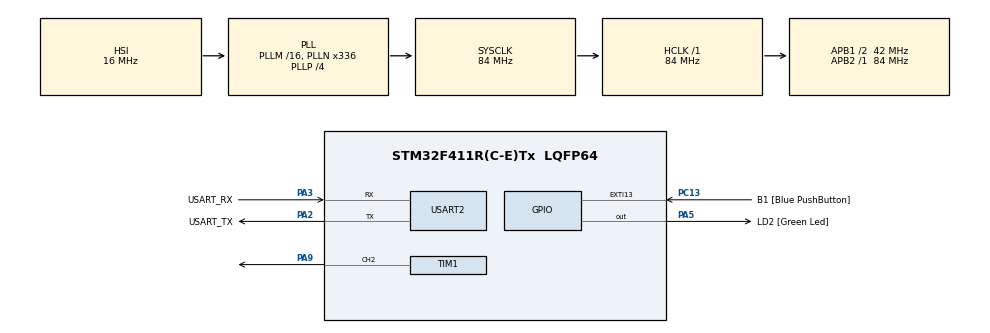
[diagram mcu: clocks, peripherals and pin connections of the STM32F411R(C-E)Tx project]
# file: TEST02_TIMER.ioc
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Mcu.Family=STM32F4
Mcu.Name=STM32F411R(C-E)Tx
Mcu.Package=LQFP64
NVIC.EXTI15_10_IRQn=true\:0\:3\:false\:false\:true\:true\:true\:true
NVIC.PriorityGroup=NVIC_PRIORITYGROUP_0
NVIC.TIM2_IRQn=true\:0\:0\:false\:false\:true\:true\:true\:true
NVIC.TIM3_IRQn=true\:0\:2\:false\:false\:true\:true\:true\:true
NVIC.TIM4_IRQn=true\:0\:0\:false\:false\:true\:true\:true\:true
PA13.GPIO_Label=TMS
PA13.Mode=Serial_Wire
PA13.Signal=SYS_JTMS-SWDIO
PA14.GPIO_Label=TCK
PA14.Mode=Serial_Wire
PA14.Signal=SYS_JTCK-SWCLK
PA2.GPIO_Label=USART_TX
PA2.Mode=Asynchronous
PA2.Signal=USART2_TX
PA3.GPIO_Label=USART_RX
PA3.Mode=Asynchronous
PA3.Signal=USART2_RX
PA5.GPIO_Label=LD2 [Green Led]
PA5.Signal=GPIO_Output
PA9.Signal=S_TIM1_CH2
PB3.GPIO_Label=SWO
PB3.Signal=SYS_JTDO-SWO
PC13-ANTI_TAMP.GPIO_Label=B1 [Blue PushButton]
PC13-ANTI_TAMP.GPIO_ModeDefaultEXTI=GPIO_MODE_IT_FALLING
PC13-ANTI_TAMP.Signal=GPXTI13
PC14-OSC32_IN.Mode=LSE-External-Oscillator
PC14-OSC32_IN.Signal=RCC_OSC32_IN
PC15-OSC32_OUT.Mode=LSE-External-Oscillator
PC15-OSC32_OUT.Signal=RCC_OSC32_OUT
PH0\ -\ OSC_IN.Mode=HSE-External-Clock-Source
PH0\ -\ OSC_IN.Signal=RCC_OSC_IN
PH1\ -\ OSC_OUT.Mode=HSE-External-Clock-Source
PH1\ -\ OSC_OUT.Signal=RCC_OSC_OUT
ProjectManager.HeapSize=0x200
ProjectManager.StackSize=0x400
ProjectManager.TargetToolchain=STM32CubeIDE
RCC.48MHZClocksFreq_Value=84000000
RCC.AHBFreq_Value=84000000
RCC.APB1CLKDivider=RCC_HCLK_DIV2
RCC.APB1Freq_Value=42000000
RCC.APB1TimFreq_Value=84000000
RCC.APB2Freq_Value=84000000
RCC.APB2TimFreq_Value=84000000
RCC.CortexFreq_Value=84000000
RCC.FLatency-AdvancedSettings=FLASH_LATENCY_2
RCC.HCLKFreq_Value=84000000
RCC.HSE_VALUE=8000000
RCC.HSI_VALUE=16000000
RCC.PLLN=336
RCC.PLLP=RCC_PLLP_DIV4
RCC.SYSCLKFreq_VALUE=84000000
RCC.SYSCLKSource=RCC_SYSCLKSOURCE_PLLCLK
RCC.VCOOutputFreq_Value=336000000
SH.S_TIM1_CH2.0=TIM1_CH2,PWM Generation2 CH2
TIM1.Channel-PWM\ Generation2\ CH2=TIM_CHANNEL_2
TIM1.Period=100-1
TIM1.Prescaler=840-1
TIM2.Period=10000-1
TIM2.Prescaler=8400-1
TIM3.Period=30000-1
TIM3.Prescaler=8400-1
TIM4.Period=50000-1
TIM4.Prescaler=8400-1
USART2.VirtualMode=VM_ASYNC
VP_TIM1_VS_ClockSourceINT.Mode=Internal
VP_TIM2_VS_ClockSourceINT.Mode=Internal
VP_TIM3_VS_ClockSourceINT.Mode=Internal
VP_TIM4_VS_ClockSourceINT.Mode=Internal
board=NUCLEO-F411RE

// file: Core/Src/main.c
/* USER CODE BEGIN Header */
/**
  ******************************************************************************
  * @file           : main.c
  * @brief          : Main program body
  ******************************************************************************
  * @attention
  *
  * Copyright (c) 2024 STMicroelectronics.
  * All rights reserved.
  *
  * This software is licensed under terms that can be found in the LICENSE file
  * in the root directory of this software component.
  * If no LICENSE file comes with this software, it is provided AS-IS.
  *
  ******************************************************************************
  */
/* USER CODE END Header */
#include "main.h"

/* USER CODE BEGIN Includes */
#include <stdio.h>
/* USER CODE END Includes */

TIM_HandleTypeDef htim1;
TIM_HandleTypeDef htim2;
TIM_HandleTypeDef htim3;
TIM_HandleTypeDef htim4;

UART_HandleTypeDef huart2;

void SystemClock_Config(void);
static void MX_GPIO_Init(void);
static void MX_USART2_UART_Init(void);
static void MX_TIM3_Init(void);
static void MX_TIM2_Init(void);
static void MX_TIM4_Init(void);
static void MX_TIM1_Init(void);

/* USER CODE BEGIN 0 */
int cnt3 = 0;
int cnt2 = 0;
int op = 0;

void HAL_TIM_PeriodElapsedCallback(TIM_HandleTypeDef *htim) // &htimx
{
	if(htim == &htim2)
	{
		printf("Timer2 elapsed...%d\r\n",cnt2++);
	}
	else if(htim == &htim3)
	{
		printf(" >>>>> Timer3 elapsed...%d...Press B1 to continue\r\n",cnt3++);
	}
	else if(htim == &htim4)
	{
		printf("     Timer4 elapsed....\r\n");
	}
}

void HAL_GPIO_EXTI_Callback(uint16_t GPIO_Pin)
{
	if(++op > 100) op = 0;
	printf("Current CCR : %d \r\n", op);
}

/* USER CODE END 0 */

int main(void)
{

  /* MCU Configuration--------------------------------------------------------*/

  /* Reset of all peripherals, Initializes the Flash interface and the Systick. */
  HAL_Init();

  /* Configure the system clock */
  SystemClock_Config();

  /* Initialize all configured peripherals */
  MX_GPIO_Init();
  MX_USART2_UART_Init();
  MX_TIM3_Init();
  MX_TIM2_Init();
  MX_TIM4_Init();
  MX_TIM1_Init();
  /* USER CODE BEGIN 2 */
  ProgramStart("Timer2"); // B1 to start

  op == 0;

  //HAL_TIM_Base_Start_IT(&htim4);
  //HAL_TIM_Base_Start_IT(&htim3);
  //HAL_TIM_Base_Start_IT(&htim2);
  HAL_TIM_PWM_Start(&htim1, TIM_CHANNEL_2);
  /* USER CODE END 2 */

  /* Infinite loop */
  /* USER CODE BEGIN WHILE */
  int mode = 1;
  while (1)
  {
    /* USER CODE END WHILE */

    /* USER CODE BEGIN 3 */
	  htim1.Instance->CCR2 = op;
	  if(mode == 1)
	  {
		  HAL_GPIO_WritePin(LD2_GPIO_Port, LD2_Pin, 1);
		  HAL_Delay(500);
		  HAL_GPIO_WritePin(LD2_GPIO_Port, LD2_Pin, 0);
		  HAL_Delay(500);
	  }
  	  }
  /* USER CODE END 3 */
}

void SystemClock_Config(void)
{
  RCC_OscInitTypeDef RCC_OscInitStruct = {0};
  RCC_ClkInitTypeDef RCC_ClkInitStruct = {0};

  /** Configure the main internal regulator output voltage
  */
  __HAL_RCC_PWR_CLK_ENABLE();
  __HAL_PWR_VOLTAGESCALING_CONFIG(PWR_REGULATOR_VOLTAGE_SCALE1);

  /** Initializes the RCC Oscillators according to the specified parameters
  * in the RCC_OscInitTypeDef structure.
  */
  RCC_OscInitStruct.OscillatorType = RCC_OSCILLATORTYPE_HSI;
  RCC_OscInitStruct.HSIState = RCC_HSI_ON;
  RCC_OscInitStruct.HSICalibrationValue = RCC_HSICALIBRATION_DEFAULT;
  RCC_OscInitStruct.PLL.PLLState = RCC_PLL_ON;
  RCC_OscInitStruct.PLL.PLLSource = RCC_PLLSOURCE_HSI;
  RCC_OscInitStruct.PLL.PLLM = 16;
  RCC_OscInitStruct.PLL.PLLN = 336;
  RCC_OscInitStruct.PLL.PLLP = RCC_PLLP_DIV4;
  RCC_OscInitStruct.PLL.PLLQ = 4;
  if (HAL_RCC_OscConfig(&RCC_OscInitStruct) != HAL_OK)
  {
    Error_Handler();
  }

  /** Initializes the CPU, AHB and APB buses clocks
  */
  RCC_ClkInitStruct.ClockType = RCC_CLOCKTYPE_HCLK|RCC_CLOCKTYPE_SYSCLK
                              |RCC_CLOCKTYPE_PCLK1|RCC_CLOCKTYPE_PCLK2;
  RCC_ClkInitStruct.SYSCLKSource = RCC_SYSCLKSOURCE_PLLCLK;
  RCC_ClkInitStruct.AHBCLKDivider = RCC_SYSCLK_DIV1;
  RCC_ClkInitStruct.APB1CLKDivider = RCC_HCLK_DIV2;
  RCC_ClkInitStruct.APB2CLKDivider = RCC_HCLK_DIV1;

  if (HAL_RCC_ClockConfig(&RCC_ClkInitStruct, FLASH_LATENCY_2) != HAL_OK)
  {
    Error_Handler();
  }
}

static void MX_TIM1_Init(void)
{

  TIM_ClockConfigTypeDef sClockSourceConfig = {0};
  TIM_MasterConfigTypeDef sMasterConfig = {0};
  TIM_OC_InitTypeDef sConfigOC = {0};
  TIM_BreakDeadTimeConfigTypeDef sBreakDeadTimeConfig = {0};

  htim1.Instance = TIM1;
  htim1.Init.Prescaler = 840-1;
  htim1.Init.CounterMode = TIM_COUNTERMODE_UP;
  htim1.Init.Period = 100-1;
  htim1.Init.ClockDivision = TIM_CLOCKDIVISION_DIV1;
  htim1.Init.RepetitionCounter = 0;
  htim1.Init.AutoReloadPreload = TIM_AUTORELOAD_PRELOAD_DISABLE;
  if (HAL_TIM_Base_Init(&htim1) != HAL_OK)
  {
    Error_Handler();
  }
  sClockSourceConfig.ClockSource = TIM_CLOCKSOURCE_INTERNAL;
  if (HAL_TIM_ConfigClockSource(&htim1, &sClockSourceConfig) != HAL_OK)
  {
    Error_Handler();
  }
  if (HAL_TIM_PWM_Init(&htim1) != HAL_OK)
  {
    Error_Handler();
  }
  sMasterConfig.MasterOutputTrigger = TIM_TRGO_RESET;
  sMasterConfig.MasterSlaveMode = TIM_MASTERSLAVEMODE_DISABLE;
  if (HAL_TIMEx_MasterConfigSynchronization(&htim1, &sMasterConfig) != HAL_OK)
  {
    Error_Handler();
  }
  sConfigOC.OCMode = TIM_OCMODE_PWM1;
  sConfigOC.Pulse = 0;
  sConfigOC.OCPolarity = TIM_OCPOLARITY_HIGH;
  sConfigOC.OCNPolarity = TIM_OCNPOLARITY_HIGH;
  sConfigOC.OCFastMode = TIM_OCFAST_DISABLE;
  sConfigOC.OCIdleState = TIM_OCIDLESTATE_RESET;
  sConfigOC.OCNIdleState = TIM_OCNIDLESTATE_RESET;
  if (HAL_TIM_PWM_ConfigChannel(&htim1, &sConfigOC, TIM_CHANNEL_2) != HAL_OK)
  {
    Error_Handler();
  }
  sBreakDeadTimeConfig.OffStateRunMode = TIM_OSSR_DISABLE;
  sBreakDeadTimeConfig.OffStateIDLEMode = TIM_OSSI_DISABLE;
  sBreakDeadTimeConfig.LockLevel = TIM_LOCKLEVEL_OFF;
  sBreakDeadTimeConfig.DeadTime = 0;
  sBreakDeadTimeConfig.BreakState = TIM_BREAK_DISABLE;
  sBreakDeadTimeConfig.BreakPolarity = TIM_BREAKPOLARITY_HIGH;
  sBreakDeadTimeConfig.AutomaticOutput = TIM_AUTOMATICOUTPUT_DISABLE;
  if (HAL_TIMEx_ConfigBreakDeadTime(&htim1, &sBreakDeadTimeConfig) != HAL_OK)
  {
    Error_Handler();
  }
  HAL_TIM_MspPostInit(&htim1);

}

static void MX_TIM2_Init(void)
{

  TIM_ClockConfigTypeDef sClockSourceConfig = {0};
  TIM_MasterConfigTypeDef sMasterConfig = {0};

  htim2.Instance = TIM2;
  htim2.Init.Prescaler = 8400-1;
  htim2.Init.CounterMode = TIM_COUNTERMODE_UP;
  htim2.Init.Period = 10000-1;
  htim2.Init.ClockDivision = TIM_CLOCKDIVISION_DIV1;
  htim2.Init.AutoReloadPreload = TIM_AUTORELOAD_PRELOAD_DISABLE;
  if (HAL_TIM_Base_Init(&htim2) != HAL_OK)
  {
    Error_Handler();
  }
  sClockSourceConfig.ClockSource = TIM_CLOCKSOURCE_INTERNAL;
  if (HAL_TIM_ConfigClockSource(&htim2, &sClockSourceConfig) != HAL_OK)
  {
    Error_Handler();
  }
  sMasterConfig.MasterOutputTrigger = TIM_TRGO_RESET;
  sMasterConfig.MasterSlaveMode = TIM_MASTERSLAVEMODE_DISABLE;
  if (HAL_TIMEx_MasterConfigSynchronization(&htim2, &sMasterConfig) != HAL_OK)
  {
    Error_Handler();
  }

}

static void MX_TIM3_Init(void)
{

  TIM_ClockConfigTypeDef sClockSourceConfig = {0};
  TIM_MasterConfigTypeDef sMasterConfig = {0};

  htim3.Instance = TIM3;
  htim3.Init.Prescaler = 8400-1;
  htim3.Init.CounterMode = TIM_COUNTERMODE_UP;
  htim3.Init.Period = 30000-1;
  htim3.Init.ClockDivision = TIM_CLOCKDIVISION_DIV1;
  htim3.Init.AutoReloadPreload = TIM_AUTORELOAD_PRELOAD_DISABLE;
  if (HAL_TIM_Base_Init(&htim3) != HAL_OK)
  {
    Error_Handler();
  }
  sClockSourceConfig.ClockSource = TIM_CLOCKSOURCE_INTERNAL;
  if (HAL_TIM_ConfigClockSource(&htim3, &sClockSourceConfig) != HAL_OK)
  {
    Error_Handler();
  }
  sMasterConfig.MasterOutputTrigger = TIM_TRGO_RESET;
  sMasterConfig.MasterSlaveMode = TIM_MASTERSLAVEMODE_DISABLE;
  if (HAL_TIMEx_MasterConfigSynchronization(&htim3, &sMasterConfig) != HAL_OK)
  {
    Error_Handler();
  }

}

static void MX_TIM4_Init(void)
{

  TIM_ClockConfigTypeDef sClockSourceConfig = {0};
  TIM_MasterConfigTypeDef sMasterConfig = {0};

  htim4.Instance = TIM4;
  htim4.Init.Prescaler = 8400-1;
  htim4.Init.CounterMode = TIM_COUNTERMODE_UP;
  htim4.Init.Period = 50000-1;
  htim4.Init.ClockDivision = TIM_CLOCKDIVISION_DIV1;
  htim4.Init.AutoReloadPreload = TIM_AUTORELOAD_PRELOAD_DISABLE;
  if (HAL_TIM_Base_Init(&htim4) != HAL_OK)
  {
    Error_Handler();
  }
  sClockSourceConfig.ClockSource = TIM_CLOCKSOURCE_INTERNAL;
  if (HAL_TIM_ConfigClockSource(&htim4, &sClockSourceConfig) != HAL_OK)
  {
    Error_Handler();
  }
  sMasterConfig.MasterOutputTrigger = TIM_TRGO_RESET;
  sMasterConfig.MasterSlaveMode = TIM_MASTERSLAVEMODE_DISABLE;
  if (HAL_TIMEx_MasterConfigSynchronization(&htim4, &sMasterConfig) != HAL_OK)
  {
    Error_Handler();
  }

}

static void MX_USART2_UART_Init(void)
{

  huart2.Instance = USART2;
  huart2.Init.BaudRate = 115200;
  huart2.Init.WordLength = UART_WORDLENGTH_8B;
  huart2.Init.StopBits = UART_STOPBITS_1;
  huart2.Init.Parity = UART_PARITY_NONE;
  huart2.Init.Mode = UART_MODE_TX_RX;
  huart2.Init.HwFlowCtl = UART_HWCONTROL_NONE;
  huart2.Init.OverSampling = UART_OVERSAMPLING_16;
  if (HAL_UART_Init(&huart2) != HAL_OK)
  {
    Error_Handler();
  }

}

static void MX_GPIO_Init(void)
{
  GPIO_InitTypeDef GPIO_InitStruct = {0};

  /* GPIO Ports Clock Enable */
  __HAL_RCC_GPIOC_CLK_ENABLE();
  __HAL_RCC_GPIOH_CLK_ENABLE();
  __HAL_RCC_GPIOA_CLK_ENABLE();
  __HAL_RCC_GPIOB_CLK_ENABLE();

  /*Configure GPIO pin Output Level */
  HAL_GPIO_WritePin(LD2_GPIO_Port, LD2_Pin, GPIO_PIN_RESET);

  /*Configure GPIO pin : B1_Pin */
  GPIO_InitStruct.Pin = B1_Pin;
  GPIO_InitStruct.Mode = GPIO_MODE_IT_FALLING;
  GPIO_InitStruct.Pull = GPIO_NOPULL;
  HAL_GPIO_Init(B1_GPIO_Port, &GPIO_InitStruct);

  /*Configure GPIO pin : LD2_Pin */
  GPIO_InitStruct.Pin = LD2_Pin;
  GPIO_InitStruct.Mode = GPIO_MODE_OUTPUT_PP;
  GPIO_InitStruct.Pull = GPIO_NOPULL;
  GPIO_InitStruct.Speed = GPIO_SPEED_FREQ_LOW;
  HAL_GPIO_Init(LD2_GPIO_Port, &GPIO_InitStruct);

  /* EXTI interrupt init*/
  HAL_NVIC_SetPriority(EXTI15_10_IRQn, 0, 3);
  HAL_NVIC_EnableIRQ(EXTI15_10_IRQn);

}

void Error_Handler(void)
{
  __disable_irq();
  while (1)
  {
  }
}
